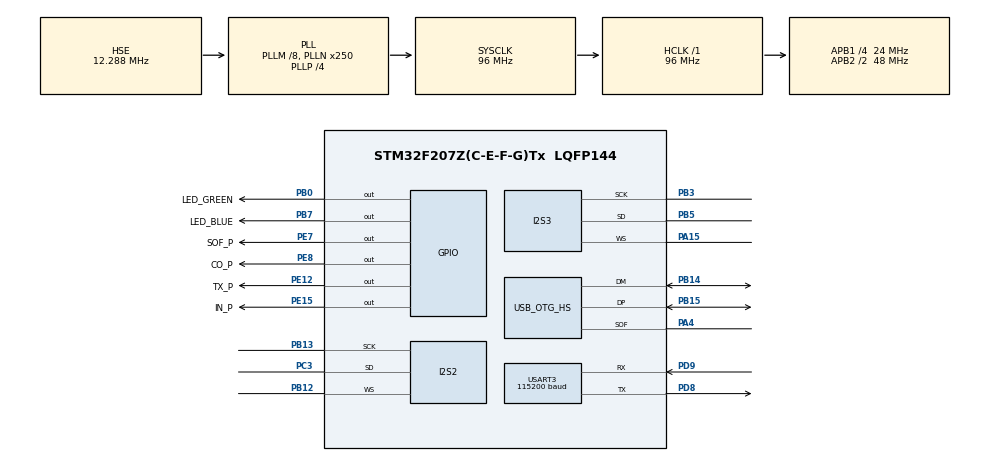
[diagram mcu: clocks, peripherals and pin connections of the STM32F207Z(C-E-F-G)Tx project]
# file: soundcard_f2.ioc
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Dma.Request0=SPI3_TX
Dma.Request1=SPI2_RX
Dma.SPI2_RX.1.Direction=DMA_PERIPH_TO_MEMORY
Dma.SPI2_RX.1.FIFOMode=DMA_FIFOMODE_DISABLE
Dma.SPI2_RX.1.Instance=DMA1_Stream3
Dma.SPI2_RX.1.MemDataAlignment=DMA_MDATAALIGN_HALFWORD
Dma.SPI2_RX.1.MemInc=DMA_MINC_ENABLE
Dma.SPI2_RX.1.Mode=DMA_CIRCULAR
Dma.SPI2_RX.1.PeriphDataAlignment=DMA_PDATAALIGN_HALFWORD
Dma.SPI2_RX.1.PeriphInc=DMA_PINC_DISABLE
Dma.SPI2_RX.1.Priority=DMA_PRIORITY_LOW
Dma.SPI3_TX.0.Direction=DMA_MEMORY_TO_PERIPH
Dma.SPI3_TX.0.FIFOMode=DMA_FIFOMODE_DISABLE
Dma.SPI3_TX.0.Instance=DMA1_Stream5
Dma.SPI3_TX.0.MemDataAlignment=DMA_MDATAALIGN_HALFWORD
Dma.SPI3_TX.0.MemInc=DMA_MINC_ENABLE
Dma.SPI3_TX.0.Mode=DMA_CIRCULAR
Dma.SPI3_TX.0.PeriphDataAlignment=DMA_PDATAALIGN_HALFWORD
Dma.SPI3_TX.0.PeriphInc=DMA_PINC_DISABLE
Dma.SPI3_TX.0.Priority=DMA_PRIORITY_LOW
I2S2.AudioFreq=I2S_AUDIOFREQ_48K
I2S2.DataFormat=I2S_DATAFORMAT_24B
I2S2.ErrorAudioFreq=0.0 %
I2S2.Instance=SPI$Index
I2S2.Mode=I2S_MODE_MASTER_RX
I2S2.RealAudioFreq=48.0 KHz
I2S2.VirtualMode=I2S_MODE_MASTER
I2S3.AudioFreq=I2S_AUDIOFREQ_48K
I2S3.DataFormat=I2S_DATAFORMAT_24B
I2S3.ErrorAudioFreq=0.0 %
I2S3.Instance=SPI$Index
I2S3.RealAudioFreq=48.0 KHz
I2S3.VirtualMode=I2S_MODE_MASTER
Mcu.Family=STM32F2
Mcu.Name=STM32F207Z(C-E-F-G)Tx
Mcu.Package=LQFP144
NVIC.DMA1_Stream3_IRQn=true\:5\:0\:true\:false\:true\:false\:true
NVIC.DMA1_Stream5_IRQn=true\:5\:0\:true\:false\:true\:false\:true
NVIC.OTG_HS_IRQn=true\:0\:0\:false\:false\:true\:true\:true
NVIC.PriorityGroup=NVIC_PRIORITYGROUP_4
NVIC.SPI2_IRQn=true\:0\:0\:false\:false\:true\:true\:true
NVIC.SPI3_IRQn=true\:0\:0\:false\:false\:true\:true\:true
PA15.GPIO_Speed=GPIO_SPEED_FREQ_VERY_HIGH
PA15.Mode=Half_Duplex_Master
PA15.Signal=I2S3_WS
PA4.Mode=Activate_SOF_FS
PA4.Signal=USB_OTG_HS_SOF
PB0.GPIO_Label=LED_GREEN
PB0.Signal=GPIO_Output
PB12.GPIO_Speed=GPIO_SPEED_FREQ_VERY_HIGH
PB12.Mode=Half_Duplex_Master
PB12.Signal=I2S2_WS
PB13.GPIO_Speed=GPIO_SPEED_FREQ_VERY_HIGH
PB13.Mode=Half_Duplex_Master
PB13.Signal=I2S2_SCK
PB14.Mode=Device_Only_FS
PB14.Signal=USB_OTG_HS_DM
PB15.Mode=Device_Only_FS
PB15.Signal=USB_OTG_HS_DP
PB3.GPIO_Speed=GPIO_SPEED_FREQ_VERY_HIGH
PB3.Mode=Half_Duplex_Master
PB3.Signal=I2S3_SCK
PB5.GPIO_Speed=GPIO_SPEED_FREQ_VERY_HIGH
PB5.Mode=Half_Duplex_Master
PB5.Signal=I2S3_SD
PB7.GPIO_Label=LED_BLUE
PB7.Signal=GPIO_Output
PC3.GPIO_Speed=GPIO_SPEED_FREQ_VERY_HIGH
PC3.Mode=Half_Duplex_Master
PC3.Signal=I2S2_SD
PD8.Mode=Asynchronous
PD8.Signal=USART3_TX
PD9.Mode=Asynchronous
PD9.Signal=USART3_RX
PE12.GPIO_Label=TX_P
PE12.GPIO_Speed=GPIO_SPEED_FREQ_MEDIUM
PE12.Signal=GPIO_Output
PE15.GPIO_Label=IN_P
PE15.GPIO_Speed=GPIO_SPEED_FREQ_MEDIUM
PE15.Signal=GPIO_Output
PE7.GPIO_Label=SOF_P
PE7.GPIO_PuPd=GPIO_NOPULL
PE7.GPIO_Speed=GPIO_SPEED_FREQ_MEDIUM
PE7.Signal=GPIO_Output
PE8.GPIO_Label=CO_P
PE8.GPIO_Speed=GPIO_SPEED_FREQ_MEDIUM
PE8.Signal=GPIO_Output
PH0-OSC_IN.Mode=HSE-External-Clock-Source
PH0-OSC_IN.Signal=RCC_OSC_IN
PH1-OSC_OUT.Mode=HSE-External-Clock-Source
PH1-OSC_OUT.Signal=RCC_OSC_OUT
ProjectManager.HeapSize=0x800
ProjectManager.StackSize=0x800
ProjectManager.TargetToolchain=STM32CubeIDE
RCC.48MHZClocksFreq_Value=48000000
RCC.AHBFreq_Value=96000000
RCC.APB1CLKDivider=RCC_HCLK_DIV4
RCC.APB1Freq_Value=24000000
RCC.APB1TimFreq_Value=48000000
RCC.APB2CLKDivider=RCC_HCLK_DIV2
RCC.APB2Freq_Value=48000000
RCC.APB2TimFreq_Value=96000000
RCC.CortexFreq_Value=96000000
RCC.HCLKFreq_Value=96000000
RCC.HSE_VALUE=12288000
RCC.HSI_VALUE=16000000
RCC.LSE_VALUE=32768
RCC.PLLM=8
RCC.PLLN=250
RCC.PLLP=RCC_PLLP_DIV4
RCC.PLLQ=8
RCC.PLLSourceVirtual=RCC_PLLSOURCE_HSE
RCC.SYSCLKFreq_VALUE=96000000
RCC.SYSCLKSource=RCC_SYSCLKSOURCE_PLLCLK
RCC.VCOOutputFreq_Value=384000000
USART3.BaudRate=115200
USART3.VirtualMode=VM_ASYNC
USB_OTG_HS.Sof_enable-Device_Only_FS=ENABLE
USB_OTG_HS.VirtualMode-Device_Only_FS=Device_Only_FS
board=custom

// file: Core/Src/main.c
/* USER CODE BEGIN Header */
/**
  ******************************************************************************
  * @file           : main.c
  * @brief          : Main program body
  ******************************************************************************
  * @attention
  *
  * Copyright (c) 2021 STMicroelectronics.
  * All rights reserved.
  *
  * This software is licensed under terms that can be found in the LICENSE file
  * in the root directory of this software component.
  * If no LICENSE file comes with this software, it is provided AS-IS.
  *
  ******************************************************************************
  */
/* USER CODE END Header */
#include "main.h"

/* USER CODE BEGIN Includes */
#include <math.h>
#include "usb_device.h"
#include "usbd_audio.h"
#include "usbd_cdc_audio_composite.h"
/* USER CODE END Includes */

I2S_HandleTypeDef hi2s2;
I2S_HandleTypeDef hi2s3;
DMA_HandleTypeDef hdma_spi2_rx;
DMA_HandleTypeDef hdma_spi3_tx;

UART_HandleTypeDef huart3;

PCD_HandleTypeDef hpcd_USB_OTG_HS;

void SystemClock_Config(void);
static void MX_GPIO_Init(void);
static void MX_USART3_UART_Init(void);
static void MX_DMA_Init(void);
static void MX_I2S3_Init(void);
static void MX_USB_OTG_HS_PCD_Init(void);
static void MX_I2S2_Init(void);

/* USER CODE BEGIN 0 */

int __io_putchar(int ch) {
	HAL_UART_Transmit(&huart3, (uint8_t*)&ch, 1, 1000);
	return ch;
}

#define BUFFER_SIZE		48

static int16_t audio_data[2 * BUFFER_SIZE];

void play_tone(void)
{
    for (int i = 0; i < BUFFER_SIZE; i++) {
        int16_t value = (int16_t)(32000.0 * sin(2.0 * M_PI * i / 48.0));
        audio_data[i * 2] = 0x00ff;
        audio_data[i * 2 + 1] = 0x00ff;
        //3 4 1 2
    }

    HAL_I2S_Transmit_DMA(&hi2s3, audio_data, 2*BUFFER_SIZE);
}

extern USBD_HandleTypeDef hUsbDeviceHS;
extern volatile uint32_t irq_count;
extern volatile uint32_t feedback_data __attribute__ ((aligned(4)));
extern volatile uint32_t tx_flag;
extern uint8_t slow_down_flag;
extern uint8_t speed_up_flag;

void HAL_I2S_ErrorCallback(I2S_HandleTypeDef *hi2s)
{
	printf("E\r\n");
}

void HAL_I2S_TxHalfCpltCallback(I2S_HandleTypeDef *hi2s)
{
	USBD_AUDIO_HandleTypeDef *haudio;
	haudio = &((USBD_Composite_HandleTypeDef *)hUsbDeviceHS.pClassData)->haudio;
	if (haudio) {
		uint16_t dma = AUDIO_TOTAL_BUF_SIZE / 2 - __HAL_DMA_GET_COUNTER(hi2s->hdmatx);
		dma <<= 1;
		uint16_t usb = haudio->wr_ptr;
		uint16_t sync_diff = dma < usb ? usb - dma : AUDIO_TOTAL_BUF_SIZE - dma + usb;

		printf("H %u 0x%lx %u %u %u\r\n", haudio->synch_feedback_fnsof, haudio->output_synch_feedback, sync_diff, dma, usb);
	}
}

void HAL_I2S_TxCpltCallback(I2S_HandleTypeDef *hi2s)
{
	USBD_AUDIO_HandleTypeDef *haudio;
	haudio = &((USBD_Composite_HandleTypeDef *)hUsbDeviceHS.pClassData)->haudio;
	if (haudio) {
		uint16_t dma = AUDIO_TOTAL_BUF_SIZE / 2 - __HAL_DMA_GET_COUNTER(hi2s->hdmatx);
		dma <<= 1;
		uint16_t usb = haudio->wr_ptr;
		uint16_t sync_diff = dma < usb ? usb - dma : AUDIO_TOTAL_BUF_SIZE - dma + usb;

		printf("F %u 0x%lx %u %u %u\r\n", haudio->synch_feedback_fnsof, haudio->output_synch_feedback, sync_diff, dma, usb);
	}
}

static int16_t audio_in[192 * 80];

/* USER CODE END 0 */

int main(void)
{

  /* MCU Configuration--------------------------------------------------------*/

  /* Reset of all peripherals, Initializes the Flash interface and the Systick. */
  HAL_Init();

  /* Configure the system clock */
  SystemClock_Config();

  /* Initialize all configured peripherals */
  MX_GPIO_Init();
  MX_USART3_UART_Init();
  MX_DMA_Init();
  MX_I2S3_Init();
  MX_I2S2_Init();
  /* USER CODE BEGIN 2 */
  printf("Starting usb...\r\n");
  MX_USB_DEVICE_Init();

    //cs43l22_init();
    //play_tone();
    //i2s_start();
  printf("Start\r\n");
  /* USER CODE END 2 */

  /* Infinite loop */
  /* USER CODE BEGIN WHILE */
  while (1)
  {
	 // printf(".");
	  //HAL_GPIO_WritePin(LED_BLUE_GPIO_Port, LED_BLUE_Pin, GPIO_PIN_SET);
	  //HAL_GPIO_WritePin(LED_GREEN_GPIO_Port, LED_GREEN_Pin, GPIO_PIN_SET);
    /* USER CODE END WHILE */

  }
}

void SystemClock_Config(void)
{
  RCC_OscInitTypeDef RCC_OscInitStruct = {0};
  RCC_ClkInitTypeDef RCC_ClkInitStruct = {0};
  RCC_PeriphCLKInitTypeDef PeriphClkInitStruct = {0};

  /** Initializes the RCC Oscillators according to the specified parameters
  * in the RCC_OscInitTypeDef structure.
  */
  RCC_OscInitStruct.OscillatorType = RCC_OSCILLATORTYPE_HSE;
  RCC_OscInitStruct.HSEState = RCC_HSE_BYPASS;
  RCC_OscInitStruct.PLL.PLLState = RCC_PLL_ON;
  RCC_OscInitStruct.PLL.PLLSource = RCC_PLLSOURCE_HSE;
  RCC_OscInitStruct.PLL.PLLM = 8;
  RCC_OscInitStruct.PLL.PLLN = 250;
  RCC_OscInitStruct.PLL.PLLP = RCC_PLLP_DIV4;
  RCC_OscInitStruct.PLL.PLLQ = 8;
  if (HAL_RCC_OscConfig(&RCC_OscInitStruct) != HAL_OK)
  {
    Error_Handler();
  }
  /** Initializes the CPU, AHB and APB buses clocks
  */
  RCC_ClkInitStruct.ClockType = RCC_CLOCKTYPE_HCLK|RCC_CLOCKTYPE_SYSCLK
                              |RCC_CLOCKTYPE_PCLK1|RCC_CLOCKTYPE_PCLK2;
  RCC_ClkInitStruct.SYSCLKSource = RCC_SYSCLKSOURCE_PLLCLK;
  RCC_ClkInitStruct.AHBCLKDivider = RCC_SYSCLK_DIV1;
  RCC_ClkInitStruct.APB1CLKDivider = RCC_HCLK_DIV4;
  RCC_ClkInitStruct.APB2CLKDivider = RCC_HCLK_DIV2;

  if (HAL_RCC_ClockConfig(&RCC_ClkInitStruct, FLASH_LATENCY_3) != HAL_OK)
  {
    Error_Handler();
  }
  PeriphClkInitStruct.PeriphClockSelection = RCC_PERIPHCLK_I2S;
  PeriphClkInitStruct.PLLI2S.PLLI2SN = 192;
  PeriphClkInitStruct.PLLI2S.PLLI2SR = 2;
  if (HAL_RCCEx_PeriphCLKConfig(&PeriphClkInitStruct) != HAL_OK)
  {
    Error_Handler();
  }
}

static void MX_I2S2_Init(void)
{

  hi2s2.Instance = SPI2;
  hi2s2.Init.Mode = I2S_MODE_MASTER_RX;
  hi2s2.Init.Standard = I2S_STANDARD_PHILIPS;
  hi2s2.Init.DataFormat = I2S_DATAFORMAT_24B;
  hi2s2.Init.MCLKOutput = I2S_MCLKOUTPUT_DISABLE;
  hi2s2.Init.AudioFreq = I2S_AUDIOFREQ_48K;
  hi2s2.Init.CPOL = I2S_CPOL_LOW;
  hi2s2.Init.ClockSource = I2S_CLOCK_PLL;
  if (HAL_I2S_Init(&hi2s2) != HAL_OK)
  {
    Error_Handler();
  }

}

static void MX_I2S3_Init(void)
{

  hi2s3.Instance = SPI3;
  hi2s3.Init.Mode = I2S_MODE_MASTER_TX;
  hi2s3.Init.Standard = I2S_STANDARD_PHILIPS;
  hi2s3.Init.DataFormat = I2S_DATAFORMAT_24B;
  hi2s3.Init.MCLKOutput = I2S_MCLKOUTPUT_DISABLE;
  hi2s3.Init.AudioFreq = I2S_AUDIOFREQ_48K;
  hi2s3.Init.CPOL = I2S_CPOL_LOW;
  hi2s3.Init.ClockSource = I2S_CLOCK_PLL;
  if (HAL_I2S_Init(&hi2s3) != HAL_OK)
  {
    Error_Handler();
  }

}

static void MX_USART3_UART_Init(void)
{

  huart3.Instance = USART3;
  huart3.Init.BaudRate = 115200;
  huart3.Init.WordLength = UART_WORDLENGTH_8B;
  huart3.Init.StopBits = UART_STOPBITS_1;
  huart3.Init.Parity = UART_PARITY_NONE;
  huart3.Init.Mode = UART_MODE_TX_RX;
  huart3.Init.HwFlowCtl = UART_HWCONTROL_NONE;
  huart3.Init.OverSampling = UART_OVERSAMPLING_16;
  if (HAL_UART_Init(&huart3) != HAL_OK)
  {
    Error_Handler();
  }

}

static void MX_USB_OTG_HS_PCD_Init(void)
{

  hpcd_USB_OTG_HS.Instance = USB_OTG_HS;
  hpcd_USB_OTG_HS.Init.dev_endpoints = 6;
  hpcd_USB_OTG_HS.Init.speed = PCD_SPEED_FULL;
  hpcd_USB_OTG_HS.Init.dma_enable = DISABLE;
  hpcd_USB_OTG_HS.Init.phy_itface = USB_OTG_EMBEDDED_PHY;
  hpcd_USB_OTG_HS.Init.Sof_enable = ENABLE;
  hpcd_USB_OTG_HS.Init.low_power_enable = DISABLE;
  hpcd_USB_OTG_HS.Init.vbus_sensing_enable = DISABLE;
  hpcd_USB_OTG_HS.Init.use_dedicated_ep1 = DISABLE;
  hpcd_USB_OTG_HS.Init.use_external_vbus = DISABLE;
  if (HAL_PCD_Init(&hpcd_USB_OTG_HS) != HAL_OK)
  {
    Error_Handler();
  }

}

static void MX_DMA_Init(void)
{

  /* DMA controller clock enable */
  __HAL_RCC_DMA1_CLK_ENABLE();

  /* DMA interrupt init */
  /* DMA1_Stream3_IRQn interrupt configuration */
  HAL_NVIC_SetPriority(DMA1_Stream3_IRQn, 5, 0);
  HAL_NVIC_EnableIRQ(DMA1_Stream3_IRQn);
  /* DMA1_Stream5_IRQn interrupt configuration */
  HAL_NVIC_SetPriority(DMA1_Stream5_IRQn, 5, 0);
  HAL_NVIC_EnableIRQ(DMA1_Stream5_IRQn);

}

static void MX_GPIO_Init(void)
{
  GPIO_InitTypeDef GPIO_InitStruct = {0};

  /* GPIO Ports Clock Enable */
  __HAL_RCC_GPIOH_CLK_ENABLE();
  __HAL_RCC_GPIOC_CLK_ENABLE();
  __HAL_RCC_GPIOA_CLK_ENABLE();
  __HAL_RCC_GPIOB_CLK_ENABLE();
  __HAL_RCC_GPIOE_CLK_ENABLE();
  __HAL_RCC_GPIOD_CLK_ENABLE();

  /*Configure GPIO pin Output Level */
  HAL_GPIO_WritePin(GPIOB, LED_GREEN_Pin|LED_BLUE_Pin, GPIO_PIN_RESET);

  /*Configure GPIO pin Output Level */
  HAL_GPIO_WritePin(GPIOE, SOF_P_Pin|CO_P_Pin|TX_P_Pin|IN_P_Pin, GPIO_PIN_RESET);

  /*Configure GPIO pins : LED_GREEN_Pin LED_BLUE_Pin */
  GPIO_InitStruct.Pin = LED_GREEN_Pin|LED_BLUE_Pin;
  GPIO_InitStruct.Mode = GPIO_MODE_OUTPUT_PP;
  GPIO_InitStruct.Pull = GPIO_NOPULL;
  GPIO_InitStruct.Speed = GPIO_SPEED_FREQ_LOW;
  HAL_GPIO_Init(GPIOB, &GPIO_InitStruct);

  /*Configure GPIO pins : SOF_P_Pin CO_P_Pin TX_P_Pin IN_P_Pin */
  GPIO_InitStruct.Pin = SOF_P_Pin|CO_P_Pin|TX_P_Pin|IN_P_Pin;
  GPIO_InitStruct.Mode = GPIO_MODE_OUTPUT_PP;
  GPIO_InitStruct.Pull = GPIO_NOPULL;
  GPIO_InitStruct.Speed = GPIO_SPEED_FREQ_MEDIUM;
  HAL_GPIO_Init(GPIOE, &GPIO_InitStruct);

}

void Error_Handler(void)
{
  /* USER CODE BEGIN Error_Handler_Debug */
  /* User can add his own implementation to report the HAL error return state */
  __disable_irq();
  while (1)
  {
	  printf("error");
  }
  /* USER CODE END Error_Handler_Debug */
}
